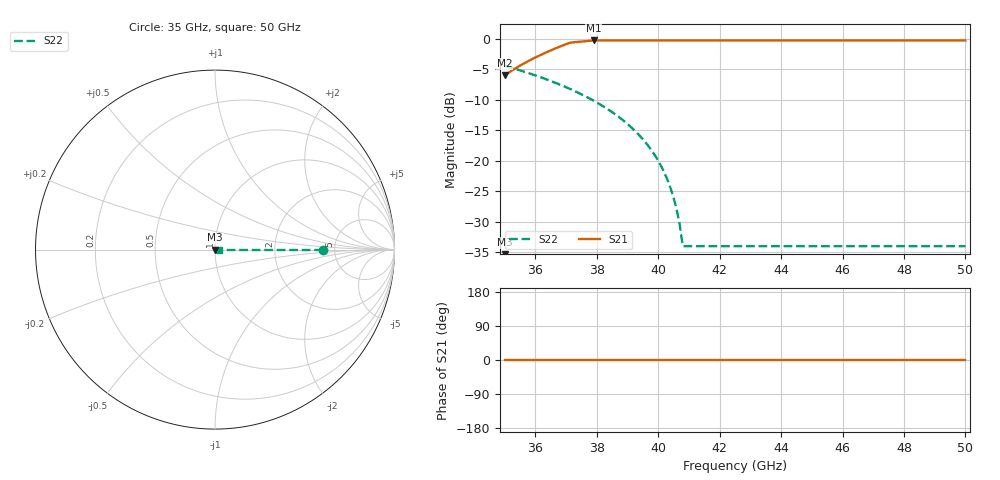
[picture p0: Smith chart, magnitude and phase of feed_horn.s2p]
# Ghz S MA R 50
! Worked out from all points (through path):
!   151 points, 35 GHz to 50 GHz, reference 50 ohm
!   highest |S21| = -0.31 dB at 37.9 GHz (marker M1); lowest = -6.0 dB at 35 GHz (marker M2)
!   lowest |S11| = - dB at 35 GHz (marker M3), VSWR 1.00, Z = 50 + j0 ohm
!   |S11| at or under -10 dB: start of sweep to end of sweep
!   |S22| runs from -34.0 to -4.4 dB; largest |S21 - S12| = 0.96
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35  0 0.0  0.5 0.0  0 0.0  0.6 0.0
35.4  0 0.0  0.58 0.0  0 0.0  0.56 0.0
35.9  0 0.0  0.68 0.0  0 0.0  0.51 0.0
37.1  0 0.0  0.92 0.0  0 0.0  0.39 0.0
37.5  0 0.0  0.945 0.0  0 0.0  0.35 0.0
37.9  0 0.0  0.965 0.0  0 0.0  0.31 0.0
38.5  0 0.0  0.965 0.0  0 0.0  0.25 0.0
39.1  0 0.0  0.965 0.0  0 0.0  0.19 0.0
39.6  0 0.0  0.965 0.0  0 0.0  0.14 0.0
39.8  0 0.0  0.965 0.0  0 0.0  0.12 0.0
40  0 0.0  0.965 0.0  0 0.0  0.1 0.0
40.2  0 0.0  0.965 0.0  0 0.0  0.08 0.0
40.3  0 0.0  0.965 0.0  0 0.0  0.07 0.0
40.4  0 0.0  0.965 0.0  0 0.0  0.06 0.0
40.5  0 0.0  0.965 0.0  0 0.0  0.05 0.0
40.6  0 0.0  0.965 0.0  0 0.0  0.04 0.0
40.7  0 0.0  0.965 0.0  0 0.0  0.03 0.0
40.8  0 0.0  0.965 0.0  0 0.0  0.02 0.0
42.5  0 0.0  0.965 0.0  0 0.0  0.02 0.0
45  0 0.0  0.965 0.0  0 0.0  0.02 0.0
47.5  0 0.0  0.965 0.0  0 0.0  0.02 0.0
50  0 0.0  0.965 0.0  0 0.0  0.02 0.0
